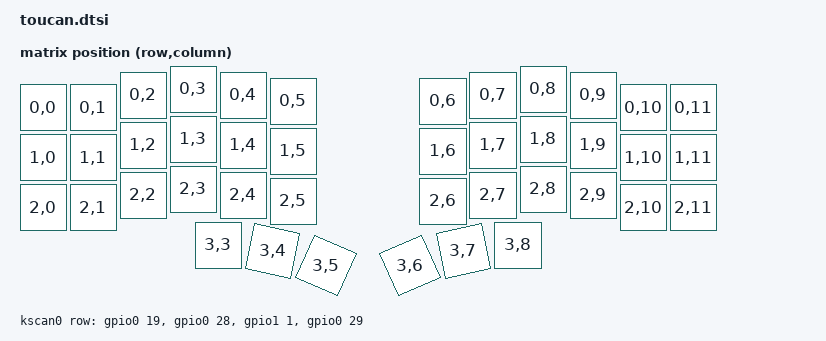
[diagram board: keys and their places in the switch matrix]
#include <input/processors.dtsi>
#include <dt-bindings/input/input-event-codes.h>
#include <dt-bindings/zmk/input_transform.h>
#include <dt-bindings/zmk/keys.h>
#include <dt-bindings/zmk/matrix_transform.h>
#include <dt-bindings/zmk/pointing.h>
#include <physical_layouts.dtsi>


/ {
    chosen {
        zmk,kscan = &kscan0;
        zmk,physical-layout = &default_layout;
        //zmk,physical-layout = &physical_layout0;
    };

    kscan0: kscan_0 {
        compatible = "zmk,kscan-gpio-matrix";
        diode-direction = "col2row";
        wakeup-source;

    row-gpios
    = <&gpio0 19 (GPIO_ACTIVE_HIGH | GPIO_PULL_DOWN)>
    , <&gpio0 28 (GPIO_ACTIVE_HIGH | GPIO_PULL_DOWN)>
    , <&gpio1 1 (GPIO_ACTIVE_HIGH | GPIO_PULL_DOWN)>
    , <&gpio0 29 (GPIO_ACTIVE_HIGH | GPIO_PULL_DOWN)>
    ;
    };

    default_layout: default_layout {
        compatible = "zmk,physical-layout";
        display-name = "Default Layout";
        transform = <&default_transform>;

        keys  //                     w   h    x    y     rot    rx    ry
            = <&key_physical_attrs 100 100    0   37       0     0     0>
            , <&key_physical_attrs 100 100  100   37       0     0     0>
            , <&key_physical_attrs 100 100  200   12       0     0     0>
            , <&key_physical_attrs 100 100  300    0       0     0     0>
            , <&key_physical_attrs 100 100  400   12       0     0     0>
            , <&key_physical_attrs 100 100  500   24       0     0     0>
            , <&key_physical_attrs 100 100  800   24       0     0     0>
            , <&key_physical_attrs 100 100  900   12       0     0     0>
            , <&key_physical_attrs 100 100 1000    0       0     0     0>
            , <&key_physical_attrs 100 100 1100   12       0     0     0>
            , <&key_physical_attrs 100 100 1200   37       0     0     0>
            , <&key_physical_attrs 100 100 1300   37       0     0     0>
            , <&key_physical_attrs 100 100    0  137       0     0     0>
            , <&key_physical_attrs 100 100  100  137       0     0     0>
            , <&key_physical_attrs 100 100  200  112       0     0     0>
            , <&key_physical_attrs 100 100  300  100       0     0     0>
            , <&key_physical_attrs 100 100  400  112       0     0     0>
            , <&key_physical_attrs 100 100  500  124       0     0     0>
            , <&key_physical_attrs 100 100  800  124       0     0     0>
            , <&key_physical_attrs 100 100  900  112       0     0     0>
            , <&key_physical_attrs 100 100 1000  100       0     0     0>
            , <&key_physical_attrs 100 100 1100  112       0     0     0>
            , <&key_physical_attrs 100 100 1200  137       0     0     0>
            , <&key_physical_attrs 100 100 1300  137       0     0     0>
            , <&key_physical_attrs 100 100    0  237       0     0     0>
            , <&key_physical_attrs 100 100  100  237       0     0     0>
            , <&key_physical_attrs 100 100  200  212       0     0     0>
            , <&key_physical_attrs 100 100  300  200       0     0     0>
            , <&key_physical_attrs 100 100  400  212       0     0     0>
            , <&key_physical_attrs 100 100  500  224       0     0     0>
            , <&key_physical_attrs 100 100  800  224       0     0     0>
            , <&key_physical_attrs 100 100  900  212       0     0     0>
            , <&key_physical_attrs 100 100 1000  200       0     0     0>
            , <&key_physical_attrs 100 100 1100  212       0     0     0>
            , <&key_physical_attrs 100 100 1200  237       0     0     0>
            , <&key_physical_attrs 100 100 1300  237       0     0     0>
            , <&key_physical_attrs 100 100  350  312       0     0     0>
            , <&key_physical_attrs 100 100  450  312    1200   450   412>
            , <&key_physical_attrs 100 100  548  328    2400   548   433>
            , <&key_physical_attrs 100 100  752  328  (-2400)  852   433>
            , <&key_physical_attrs 100 100  850  312  (-1200)  950   412>
            , <&key_physical_attrs 100 100  950  312       0     0     0>
            ;
    };

    default_transform: keymap_transform_0 {
        compatible = "zmk,matrix-transform";
        columns = <12>;
        rows = <4>;
        // | SW1  | SW2  | SW3  | SW4  | SW5  | SW6  |   | SW6  | SW5  | SW4  | SW3  | SW2  | SW1  |
        // | SW7  | SW8  | SW9  | SW10 | SW11 | SW12 |   | SW12 | SW11 | SW10 | SW9  | SW8  | SW7  |
        // | SW13 | SW14 | SW15 | SW16 | SW17 | SW18 |   | SW18 | SW17 | SW16 | SW15 | SW14 | SW13 |
        //                      | SW19 | SW20 | SW21 |   | SW21 | SW20 | SW19 |
                map = <
        RC(0,0) RC(0,1) RC(0,2) RC(0,3) RC(0,4) RC(0,5)  RC(0,6) RC(0,7) RC(0,8) RC(0,9) RC(0,10) RC(0,11)
        RC(1,0) RC(1,1) RC(1,2) RC(1,3) RC(1,4) RC(1,5)  RC(1,6) RC(1,7) RC(1,8) RC(1,9) RC(1,10) RC(1,11)
        RC(2,0) RC(2,1) RC(2,2) RC(2,3) RC(2,4) RC(2,5)  RC(2,6) RC(2,7) RC(2,8) RC(2,9) RC(2,10) RC(2,11)
                                RC(3,3) RC(3,4) RC(3,5)  RC(3,6) RC(3,7) RC(3,8)
        >;
    };
};

/ {
    input_processors {
        // Velocity-based cursor acceleration (zmk-pointing-acceleration
        // module, west.yml). Runs AFTER zip_xy_scaler in the listener,
        // so its counts-per-second thresholds are in post-scaler units —
        // the same units for either trackpad. min-factor 1000 keeps slow
        // precise movement EXACTLY as tuned (no deceleration, no change
        // below speed-threshold); fast flicks scale up to 3x. Affects
        // REL_X/REL_Y only (hard-wired in the module) — scroll/zoom
        // untouched. Tune: max-factor (top speed), speed-threshold
        // (where accel starts), acceleration-exponent (2 = curvier).
        // FIRMWARE ACCELERATION REMOVED (2026-08-20 pm, Kolter's call):
        // the keyboard ships FLAT 1:1 counts and Windows "Enhance
        // pointer precision" (which he keeps ON for his desk mouse) is
        // the single ballistics curve — stacking ours under EPP was
        // double acceleration. The vendored processor stays in
        // drivers/input_processor/ (compiles to nothing without a DT
        // node); to revive it, restore the pointer_accel node + listener
        // reference from git history (last curve: 850/1300@500/6000,
        // curve-v4 rationale in that history). Caveat on record: EPP's
        // velocity estimator sees our bursty BLE event arrival — if
        // float persists on the flat setup, that interaction is the
        // prime suspect.

        // Azoteq pinch-zoom: the TPS43 emits zoom as REL_MISC deltas;
        // the mapper (zmk-input-zoom module, west.yml) fires one
        // behavior per `sensitivity` delta units, mapped to
        // Ctrl+Minus / Ctrl+Equal (Windows browser zoom).
        // No-op for the cirque, which never emits REL_MISC.
        //
        // Ctrl+WHEEL bindings were TRIED and REVERTED (2026-08-20, one
        // firmware round): &msc is a timer-driven scroll-while-held
        // behavior, so a macro's instantaneous press+release fires zero
        // wheel ticks — pinch did nothing at the host. Don't re-attempt
        // with macros; it would need a one-shot wheel-report behavior
        // that ZMK v0.3 doesn't have.
        zip_zoom_mapper: zip_zoom_mapper {
            compatible = "zmk,input-processor-zoom";
            #input-processor-cells = <0>;
            event-code = <INPUT_REL_MISC>;
            sensitivity = <10>;
            bindings = <&kp LC(MINUS)>, <&kp LC(EQUAL)>;
            track-remainders;
        };
    };

    split_inputs {
        #address-cells = <1>;
        #size-cells = <0>;

        glidepoint_split: glidepoint_split@0 {
            compatible = "zmk,input-split";
            reg = <0>;
        };
    };

    glidepoint_listener: glidepoint_listener {
        compatible = "zmk,input-listener";
        status = "disabled";
        device = <&glidepoint_split>;
        // XY SCALER REMOVED (2026-08-20 pm, scaler consolidation): the
        // 225/100 upscale existed for the cirque; on the azoteq it
        // turned each chip count into a ~2.25px cursor jump — the
        // slow-movement jitter/stepping. XY now passes 1:1 and the
        // azoteq overlay's x/y-resolution carries the full speed
        // calibration at ~1px quantum. NOTE: a cirque right half run
        // against THIS left will move at ~44% speed — the archived
        // firmware-archive/ uf2 pair is the cirque revert path, not a
        // mixed flash.
        // zip_scroll_scaler: scales the azoteq's two-finger scroll
        // (driver emits at 100%, /20 here — central-side so slow
        // scrolls aren't integer-truncated at the source); no-op for
        // the cirque, which never emits REL_WHEEL.
        input-processors = <&zip_scroll_scaler 1 20>, <&zip_zoom_mapper>;
        scroller {
            layers = <2>;
            input-processors = <
                &zip_xy_to_scroll_mapper
                &zip_scroll_scaler 1 7
                &zip_scroll_transform INPUT_TRANSFORM_Y_INVERT
            >;
        };
    };
};
